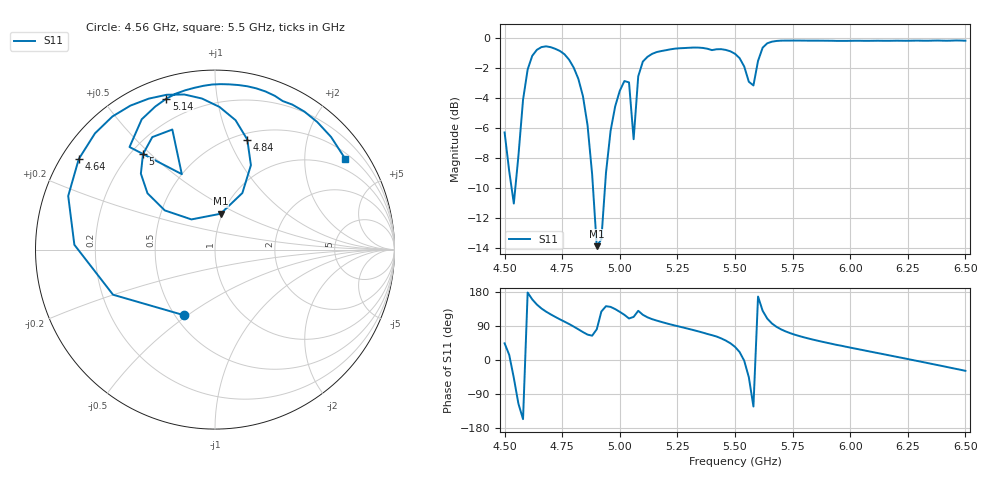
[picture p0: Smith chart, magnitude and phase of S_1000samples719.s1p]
! TOUCHSTONE file generated by CST MICROWAVE STUDIO
! Date and time: Sat Oct 29 03:42:41 2022
! Project name: L.cst
! Parameters = {Di=1.27; Epsilon_r=1.56; InnerDiameter=1.27; Length=2; Lf=10; Lg=60; OuterConductorThickness=0.2921; OuterDiameter=3.6; Wf=3; Wp=41.2; de=1.5; df=6.8; g=0.8; gx=0.419635; gy=2.30481; h=2.34; hf=1.524; px=14.9346; py=8.09886; w=9.7; wx=14.515; wy=5.79405}
! Header version: 2018
! Port assignment regex: !\s*Touchstone port\s*([0-9]+)\s*=\s*(CST MWS port|CST DS port)\s*([0-9]+|Zmin|Zmax)\s*\(\"(.*)\"\)(\s*mode\s*([0-9]+))?.*
! Touchstone port assignment:
! Touchstone port 1 = CST MWS port 1 ("")
# GHz S DB R 50
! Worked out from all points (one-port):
!   101 points, 4.5 GHz to 6.5 GHz, reference 50 ohm
!   lowest |S11| = -13.9 dB at 4.9 GHz (marker M1), VSWR 1.51, Z = 49 + j20.4 ohm
!   |S11| at or under -10 dB: 4.530317 GHz to 4.546548 GHz (16.23 MHz wide, 0.358 % of centre); 4.884 GHz to 4.935 GHz (51.73 MHz wide, 1.05 % of centre)
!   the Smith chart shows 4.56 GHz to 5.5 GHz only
!   S11 on the Smith chart (normalised r, x): 4.56 GHz: 0.55, -0.48; 4.64 GHz: 0.05, +0.30; 4.84 GHz: 0.56, +1.17; 5 GHz: 0.25, +0.47; 5.14 GHz: 0.09, +0.72; 5.5 GHz: 0.66, +3.07
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4.5  -6.31 44.0
4.54  -11.04 -47.4
4.56  -7.86 -115.5
4.6  -2.11 178.0
4.64  -0.80 146.4
4.76  -1.10 101.2
4.84  -3.89 73.6
4.9  -13.88 81.1
4.96  -6.20 140.2
5  -3.53 127.0
5.04  -2.97 109.6
5.06  -6.76 113.8
5.08  -2.57 129.8
5.14  -1.07 107.8
5.26  -0.70 88.0
5.42  -0.77 61.9
5.5  -1.07 34.7
5.54  -1.91 -1.9
5.56  -2.93 -45.5
5.58  -3.18 -122.8
5.6  -1.54 167.5
5.62  -0.66 129.9
5.64  -0.37 109.3
5.68  -0.21 87.6
5.76  -0.19 66.7
6  -0.21 32.7
6.26  -0.20 1.3
6.5  -0.20 -28.5
